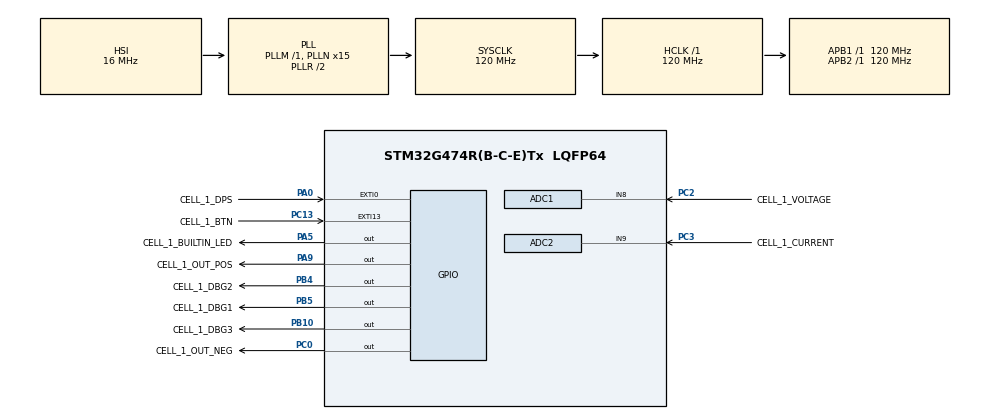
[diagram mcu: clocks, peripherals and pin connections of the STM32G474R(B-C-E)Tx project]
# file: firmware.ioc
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ADC1.Channel-0\#ChannelRegularConversion=ADC_CHANNEL_8
ADC1.ContinuousConvMode=DISABLE
ADC1.DMAAccessModeView=DISABLED
ADC1.EOCSelection=ADC_EOC_SEQ_CONV
ADC1.EnableAnalogWatchDog1=false
ADC1.EnableAnalogWatchDog2=false
ADC1.Mode=ADC_DUALMODE_REGSIMULT
ADC1.NbrOfConversionFlag=1
ADC1.OffsetNumber-0\#ChannelRegularConversion=ADC_OFFSET_NONE
ADC1.Rank-0\#ChannelRegularConversion=1
ADC1.SamplingTime-0\#ChannelRegularConversion=ADC_SAMPLETIME_2CYCLES_5
ADC1.master=1
ADC2.Channel-0\#ChannelRegularConversion=ADC_CHANNEL_9
ADC2.DMAAccessModeView=DISABLED
ADC2.EOCSelection=ADC_EOC_SEQ_CONV
ADC2.EnableAnalogWatchDog1=false
ADC2.EnableAnalogWatchDog2=false
ADC2.Mode=ADC_DUALMODE_REGSIMULT
ADC2.NbrOfConversionFlag=1
ADC2.OffsetNumber-0\#ChannelRegularConversion=ADC_OFFSET_NONE
ADC2.Rank-0\#ChannelRegularConversion=1
ADC2.SamplingTime-0\#ChannelRegularConversion=ADC_SAMPLETIME_2CYCLES_5
ADC5.Channel-0\#ChannelRegularConversion=ADC_CHANNEL_TEMPSENSOR_ADC5
ADC5.NbrOfConversionFlag=1
ADC5.OffsetNumber-0\#ChannelRegularConversion=ADC_OFFSET_NONE
ADC5.Rank-0\#ChannelRegularConversion=1
ADC5.SamplingTime-0\#ChannelRegularConversion=ADC_SAMPLETIME_640CYCLES_5
Mcu.Family=STM32G4
Mcu.Name=STM32G474R(B-C-E)Tx
Mcu.Package=LQFP64
NVIC.ADC1_2_IRQn=true\:0\:0\:false\:false\:true\:true\:true
NVIC.ADC5_IRQn=true\:0\:0\:false\:false\:true\:true\:true
NVIC.EXTI0_IRQn=true\:0\:0\:false\:false\:true\:true\:true
NVIC.EXTI15_10_IRQn=true\:0\:0\:false\:false\:true\:true\:true
NVIC.PriorityGroup=NVIC_PRIORITYGROUP_4
NVIC.TIM1_UP_TIM16_IRQn=true\:0\:0\:false\:false\:true\:true\:true
NVIC.TIM2_IRQn=true\:0\:0\:false\:false\:true\:true\:true
PA0.GPIO_Label=CELL_1_DPS
PA0.GPIO_ModeDefaultEXTI=GPIO_MODE_IT_RISING_FALLING
PA0.Signal=GPXTI0
PA13.GPIO_Label=T_SWDIO
PA13.Mode=Serial_Wire
PA13.Signal=SYS_JTMS-SWDIO
PA14.GPIO_Label=T_SWCLK
PA14.Mode=Serial_Wire
PA14.Signal=SYS_JTCK-SWCLK
PA5.GPIO_Label=CELL_1_BUILTIN_LED
PA5.Signal=GPIO_Output
PA9.GPIO_Label=CELL_1_OUT_POS
PA9.Signal=GPIO_Output
PB10.GPIO_Label=CELL_1_DBG3
PB10.Signal=GPIO_Output
PB4.GPIO_Label=CELL_1_DBG2
PB4.Signal=GPIO_Output
PB5.GPIO_Label=CELL_1_DBG1
PB5.Signal=GPIO_Output
PC0.GPIO_Label=CELL_1_OUT_NEG
PC0.Signal=GPIO_Output
PC13.GPIO_Label=CELL_1_BTN
PC13.Signal=GPXTI13
PC14-OSC32_IN.Mode=LSE-External-Oscillator
PC14-OSC32_IN.Signal=RCC_OSC32_IN
PC15-OSC32_OUT.Mode=LSE-External-Oscillator
PC15-OSC32_OUT.Signal=RCC_OSC32_OUT
PC2.GPIO_Label=CELL_1_VOLTAGE
PC2.Mode=IN8-Single-Ended
PC2.Signal=ADC1_IN8
PC3.GPIO_Label=CELL_1_CURRENT
PC3.Mode=IN9-Single-Ended
PC3.Signal=ADC2_IN9
PF0-OSC_IN.Mode=HSE-External-Oscillator
PF0-OSC_IN.Signal=RCC_OSC_IN
PF1-OSC_OUT.Mode=HSE-External-Oscillator
PF1-OSC_OUT.Signal=RCC_OSC_OUT
ProjectManager.HeapSize=0x200
ProjectManager.StackSize=0x400
ProjectManager.TargetToolchain=STM32CubeIDE
RCC.ADC12Freq_Value=120000000
RCC.ADC345Freq_Value=120000000
RCC.AHBFreq_Value=120000000
RCC.APB1Freq_Value=120000000
RCC.APB1TimFreq_Value=120000000
RCC.APB2Freq_Value=120000000
RCC.APB2TimFreq_Value=120000000
RCC.CortexFreq_Value=120000000
RCC.EXTERNAL_CLOCK_VALUE=12288000
RCC.HCLKFreq_Value=120000000
RCC.HSE_VALUE=24000000
RCC.HSI48_VALUE=48000000
RCC.HSI_VALUE=16000000
RCC.PLLN=15
RCC.RTCClockSelection=RCC_RTCCLKSOURCE_LSE
RCC.SYSCLKFreq_VALUE=120000000
RCC.SYSCLKSource=RCC_SYSCLKSOURCE_PLLCLK
RCC.USBFreq_Value=120000000
RCC.VCOOutputFreq_Value=240000000
TIM1.AutoReloadPreload=TIM_AUTORELOAD_PRELOAD_ENABLE
TIM1.PeriodNoDither=1041
TIM1.Prescaler=119
TIM2.AutoReloadPreload=TIM_AUTORELOAD_PRELOAD_ENABLE
TIM2.PeriodNoDither=10000
TIM2.Prescaler=11999
VP_ADC5_TempSens_Input.Mode=IN-TempSens
VP_ADC5_Vref_Input.Mode=IN-Vrefint
VP_SYS_VS_DBSignals.Mode=DisableDeadBatterySignals
VP_TIM1_VS_ClockSourceINT.Mode=Internal
VP_TIM2_VS_ClockSourceINT.Mode=Internal
board=NUCLEO-G474RE

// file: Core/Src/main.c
/* USER CODE BEGIN Header */
/**
  ******************************************************************************
  * @file           : main.c
  * @brief          : Main program body
  ******************************************************************************
  * @attention
  *
  * <h2><center>&copy; Copyright (c) 2021 STMicroelectronics.
  * All rights reserved.</center></h2>
  *
  * This software component is licensed by ST under BSD 3-Clause license,
  * the "License"; You may not use this file except in compliance with the
  * License. You may obtain a copy of the License at:
  *                        opensource.org/licenses/BSD-3-Clause
  *
  ******************************************************************************
  */
/* USER CODE END Header */
#include "main.h"
#include "adc.h"
#include "tim.h"
#include "gpio.h"

/* USER CODE BEGIN Includes */
#include <stdio.h>
#include "meas.h"
#include "objects_def.h"
#include "events.h"
/* USER CODE END Includes */

void SystemClock_Config(void);

/* USER CODE BEGIN 0 */
int _write(int file, char *ptr, int len)
{
	for (int i=0 ; i<len ; i++)
		ITM_SendChar((*ptr++));

	return (len);
}
/* USER CODE END 0 */

int main(void)
{

  /* MCU Configuration--------------------------------------------------------*/

  /* Reset of all peripherals, Initializes the Flash interface and the Systick. */
  HAL_Init();

  /* Configure the system clock */
  SystemClock_Config();

  /* Initialize all configured peripherals */
  MX_GPIO_Init();
  MX_TIM1_Init();
  MX_ADC1_Init();
  MX_ADC2_Init();
  MX_ADC5_Init();
  MX_TIM2_Init();
  /* USER CODE BEGIN 2 */
  printf("-- Starting System's Configuration\n\n");

  objects_def_init();

  HAL_ADCEx_Calibration_Start(&hadc5, ADC_SINGLE_ENDED);

  HAL_TIM_Base_Start_IT(&htim1);
  HAL_TIM_Base_Start_IT(&htim2);

  printf("-- End of System's Configuration\n");
  /* USER CODE END 2 */

  /* Infinite loop */
  /* USER CODE BEGIN WHILE */
  while (1)
  {
	objects_def_loop();
    /* USER CODE END WHILE */

  }
}

void SystemClock_Config(void)
{
  RCC_OscInitTypeDef RCC_OscInitStruct = {0};
  RCC_ClkInitTypeDef RCC_ClkInitStruct = {0};
  RCC_PeriphCLKInitTypeDef PeriphClkInit = {0};

  /** Configure the main internal regulator output voltage
  */
  HAL_PWREx_ControlVoltageScaling(PWR_REGULATOR_VOLTAGE_SCALE1);
  /** Initializes the RCC Oscillators according to the specified parameters
  * in the RCC_OscInitTypeDef structure.
  */
  RCC_OscInitStruct.OscillatorType = RCC_OSCILLATORTYPE_HSI;
  RCC_OscInitStruct.HSIState = RCC_HSI_ON;
  RCC_OscInitStruct.HSICalibrationValue = RCC_HSICALIBRATION_DEFAULT;
  RCC_OscInitStruct.PLL.PLLState = RCC_PLL_ON;
  RCC_OscInitStruct.PLL.PLLSource = RCC_PLLSOURCE_HSI;
  RCC_OscInitStruct.PLL.PLLM = RCC_PLLM_DIV1;
  RCC_OscInitStruct.PLL.PLLN = 15;
  RCC_OscInitStruct.PLL.PLLP = RCC_PLLP_DIV2;
  RCC_OscInitStruct.PLL.PLLQ = RCC_PLLQ_DIV2;
  RCC_OscInitStruct.PLL.PLLR = RCC_PLLR_DIV2;
  if (HAL_RCC_OscConfig(&RCC_OscInitStruct) != HAL_OK)
  {
    Error_Handler();
  }
  /** Initializes the CPU, AHB and APB buses clocks
  */
  RCC_ClkInitStruct.ClockType = RCC_CLOCKTYPE_HCLK|RCC_CLOCKTYPE_SYSCLK
                              |RCC_CLOCKTYPE_PCLK1|RCC_CLOCKTYPE_PCLK2;
  RCC_ClkInitStruct.SYSCLKSource = RCC_SYSCLKSOURCE_PLLCLK;
  RCC_ClkInitStruct.AHBCLKDivider = RCC_SYSCLK_DIV1;
  RCC_ClkInitStruct.APB1CLKDivider = RCC_HCLK_DIV1;
  RCC_ClkInitStruct.APB2CLKDivider = RCC_HCLK_DIV1;

  if (HAL_RCC_ClockConfig(&RCC_ClkInitStruct, FLASH_LATENCY_3) != HAL_OK)
  {
    Error_Handler();
  }
  /** Initializes the peripherals clocks
  */
  PeriphClkInit.PeriphClockSelection = RCC_PERIPHCLK_ADC12|RCC_PERIPHCLK_ADC345;
  PeriphClkInit.Adc12ClockSelection = RCC_ADC12CLKSOURCE_SYSCLK;
  PeriphClkInit.Adc345ClockSelection = RCC_ADC345CLKSOURCE_SYSCLK;
  if (HAL_RCCEx_PeriphCLKConfig(&PeriphClkInit) != HAL_OK)
  {
    Error_Handler();
  }
}

void Error_Handler(void)
{
  __disable_irq();
  while (1)
  {
  }
}

/************************ (C) COPYRIGHT STMicroelectronics *****END OF FILE****/
